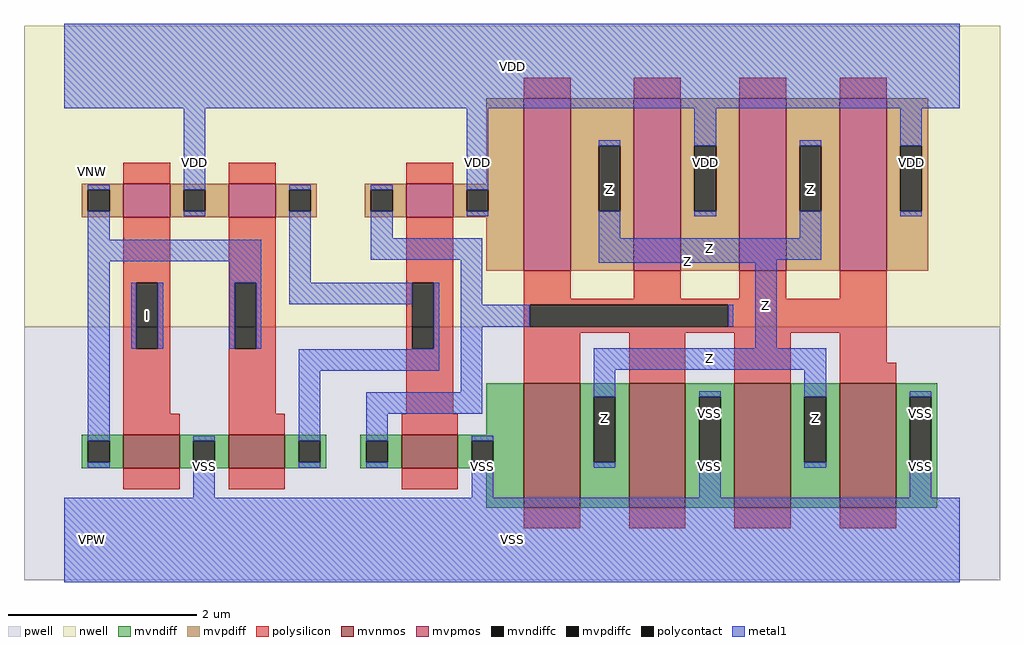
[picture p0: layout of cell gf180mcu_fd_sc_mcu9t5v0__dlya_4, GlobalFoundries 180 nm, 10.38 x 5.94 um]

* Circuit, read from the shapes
.subckt gf180mcu_fd_sc_mcu9t5v0__dlya_4 I Z VDD VNW VPW VSS
XM1 VSS I n1 VPW nfet_06v0 w=0.36u l=0.6u
XM2 n2 n1 VSS VPW nfet_06v0 w=0.36u l=0.6u
XM3 VSS n2 n3 VPW nfet_06v0 w=0.36u l=0.6u
XM4 Z n3 VSS VPW nfet_06v0 w=1.32u l=0.6u m=4
XM5 VDD I n1 VNW pfet_06v0 w=0.36u l=0.5u
XM6 n2 n1 VDD VNW pfet_06v0 w=0.36u l=0.5u
XM7 VDD n2 n3 VNW pfet_06v0 w=0.36u l=0.5u
XM8 Z n3 VDD VNW pfet_06v0 w=1.83u l=0.5u m=4
.ends

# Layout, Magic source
magic
tech gf180mcuD
magscale 1 10
<< nwell >>
rect -86 453 1990 1094
<< pwell >>
rect -86 -86 1990 453
<< mvnmos >>
rect 125 152 245 224
rect 349 152 469 224
rect 717 152 837 224
rect 977 69 1097 333
rect 1201 69 1321 333
rect 1425 69 1545 333
rect 1649 69 1769 333
<< mvpmos >>
rect 125 686 225 758
rect 349 686 449 758
rect 727 686 827 758
rect 977 573 1077 939
rect 1211 573 1311 939
rect 1435 573 1535 939
rect 1649 573 1749 939
<< mvndiff >>
rect 897 224 977 333
rect 37 211 125 224
rect 37 165 50 211
rect 96 165 125 211
rect 37 152 125 165
rect 245 211 349 224
rect 245 165 274 211
rect 320 165 349 211
rect 245 152 349 165
rect 469 211 557 224
rect 469 165 498 211
rect 544 165 557 211
rect 469 152 557 165
rect 629 211 717 224
rect 629 165 642 211
rect 688 165 717 211
rect 629 152 717 165
rect 837 211 977 224
rect 837 165 866 211
rect 912 165 977 211
rect 837 152 977 165
rect 897 69 977 152
rect 1097 305 1201 333
rect 1097 165 1126 305
rect 1172 165 1201 305
rect 1097 69 1201 165
rect 1321 305 1425 333
rect 1321 165 1350 305
rect 1396 165 1425 305
rect 1321 69 1425 165
rect 1545 305 1649 333
rect 1545 165 1574 305
rect 1620 165 1649 305
rect 1545 69 1649 165
rect 1769 305 1857 333
rect 1769 165 1798 305
rect 1844 165 1857 305
rect 1769 69 1857 165
<< mvpdiff >>
rect 897 758 977 939
rect 37 745 125 758
rect 37 699 50 745
rect 96 699 125 745
rect 37 686 125 699
rect 225 745 349 758
rect 225 699 254 745
rect 300 699 349 745
rect 225 686 349 699
rect 449 745 537 758
rect 449 699 478 745
rect 524 699 537 745
rect 449 686 537 699
rect 639 745 727 758
rect 639 699 652 745
rect 698 699 727 745
rect 639 686 727 699
rect 827 745 977 758
rect 827 699 856 745
rect 902 699 977 745
rect 827 686 977 699
rect 897 573 977 686
rect 1077 839 1211 939
rect 1077 699 1136 839
rect 1182 699 1211 839
rect 1077 573 1211 699
rect 1311 839 1435 939
rect 1311 699 1340 839
rect 1386 699 1435 839
rect 1311 573 1435 699
rect 1535 839 1649 939
rect 1535 699 1564 839
rect 1610 699 1649 839
rect 1535 573 1649 699
rect 1749 839 1837 939
rect 1749 699 1778 839
rect 1824 699 1837 839
rect 1749 573 1837 699
<< mvndiffc >>
rect 50 165 96 211
rect 274 165 320 211
rect 498 165 544 211
rect 642 165 688 211
rect 866 165 912 211
rect 1126 165 1172 305
rect 1350 165 1396 305
rect 1574 165 1620 305
rect 1798 165 1844 305
<< mvpdiffc >>
rect 50 699 96 745
rect 254 699 300 745
rect 478 699 524 745
rect 652 699 698 745
rect 856 699 902 745
rect 1136 699 1182 839
rect 1340 699 1386 839
rect 1564 699 1610 839
rect 1778 699 1824 839
<< polysilicon >>
rect 977 939 1077 983
rect 1211 939 1311 983
rect 1435 939 1535 983
rect 1649 939 1749 983
rect 125 758 225 802
rect 349 758 449 802
rect 727 758 827 802
rect 125 547 225 686
rect 125 407 153 547
rect 199 407 225 547
rect 125 268 225 407
rect 349 547 449 686
rect 349 407 362 547
rect 408 407 449 547
rect 349 268 449 407
rect 727 547 827 686
rect 727 407 740 547
rect 786 407 827 547
rect 727 268 827 407
rect 977 513 1077 573
rect 1211 513 1311 573
rect 1435 513 1535 573
rect 1649 513 1749 573
rect 977 500 1749 513
rect 977 454 990 500
rect 1412 454 1749 500
rect 977 441 1749 454
rect 977 333 1097 441
rect 1201 333 1321 441
rect 1425 333 1545 441
rect 1649 377 1749 441
rect 1649 333 1769 377
rect 125 224 245 268
rect 349 224 469 268
rect 717 224 837 268
rect 125 108 245 152
rect 349 108 469 152
rect 717 108 837 152
rect 977 25 1097 69
rect 1201 25 1321 69
rect 1425 25 1545 69
rect 1649 25 1769 69
<< polycontact >>
rect 153 407 199 547
rect 362 407 408 547
rect 740 407 786 547
rect 990 454 1412 500
<< metal1 >>
rect 0 918 1904 1098
rect 50 745 96 756
rect 50 639 96 699
rect 254 745 300 918
rect 254 688 300 699
rect 478 745 524 756
rect 50 593 419 639
rect 50 211 96 593
rect 351 547 419 593
rect 142 407 153 547
rect 199 407 210 547
rect 351 407 362 547
rect 408 407 419 547
rect 478 547 524 699
rect 652 745 698 756
rect 652 642 698 699
rect 856 745 902 918
rect 856 688 902 699
rect 1136 839 1182 850
rect 1136 642 1182 699
rect 1340 839 1386 918
rect 1340 688 1386 699
rect 1564 839 1610 850
rect 1564 642 1610 699
rect 1778 839 1824 918
rect 1778 688 1824 699
rect 652 596 889 642
rect 478 501 740 547
rect 786 407 797 547
rect 740 406 797 407
rect 498 360 797 406
rect 843 500 889 596
rect 1136 596 1610 642
rect 1136 590 1515 596
rect 843 454 990 500
rect 1412 454 1423 500
rect 50 154 96 165
rect 274 211 320 222
rect 274 90 320 165
rect 498 211 544 360
rect 843 314 889 454
rect 1469 408 1515 590
rect 498 154 544 165
rect 642 268 889 314
rect 1126 362 1620 408
rect 1126 305 1172 362
rect 642 211 688 268
rect 642 154 688 165
rect 866 211 912 222
rect 866 90 912 165
rect 1126 154 1172 165
rect 1350 305 1396 316
rect 1350 90 1396 165
rect 1574 305 1620 362
rect 1574 154 1620 165
rect 1798 305 1844 316
rect 1798 90 1844 165
rect 0 -90 1904 90
<< labels >>
flabel metal1 s 142 407 210 547 0 FreeSans 200 0 0 0 I
port 1 nsew default input
flabel metal1 s 0 918 1904 1098 0 FreeSans 200 0 0 0 VDD
port 3 nsew power bidirectional abutment
flabel metal1 s 1798 222 1844 316 0 FreeSans 200 0 0 0 VSS
port 6 nsew ground bidirectional abutment
flabel metal1 s 1564 642 1610 850 0 FreeSans 200 0 0 0 Z
port 2 nsew default output
flabel nwell s 10 734 110 834 0 FreeSans 400 0 0 0 VNW
port 4 nsew power bidirectional
flabel pwell s 10 -50 110 50 0 FreeSans 400 0 0 0 VPW
port 5 nsew ground bidirectional
rlabel metal1 s 1136 642 1182 850 1 Z
port 2 nsew default output
rlabel metal1 s 1136 596 1610 642 1 Z
port 2 nsew default output
rlabel metal1 s 1136 590 1515 596 1 Z
port 2 nsew default output
rlabel metal1 s 1469 408 1515 590 1 Z
port 2 nsew default output
rlabel metal1 s 1126 362 1620 408 1 Z
port 2 nsew default output
rlabel metal1 s 1574 154 1620 362 1 Z
port 2 nsew default output
rlabel metal1 s 1126 154 1172 362 1 Z
port 2 nsew default output
rlabel metal1 s 1778 688 1824 918 1 VDD
port 3 nsew power bidirectional abutment
rlabel metal1 s 1340 688 1386 918 1 VDD
port 3 nsew power bidirectional abutment
rlabel metal1 s 856 688 902 918 1 VDD
port 3 nsew power bidirectional abutment
rlabel metal1 s 254 688 300 918 1 VDD
port 3 nsew power bidirectional abutment
rlabel metal1 s 1350 222 1396 316 1 VSS
port 6 nsew ground bidirectional abutment
rlabel metal1 s 1798 90 1844 222 1 VSS
port 6 nsew ground bidirectional abutment
rlabel metal1 s 1350 90 1396 222 1 VSS
port 6 nsew ground bidirectional abutment
rlabel metal1 s 866 90 912 222 1 VSS
port 6 nsew ground bidirectional abutment
rlabel metal1 s 274 90 320 222 1 VSS
port 6 nsew ground bidirectional abutment
rlabel metal1 s 0 -90 1904 90 1 VSS
port 6 nsew ground bidirectional abutment
<< properties >>
string FIXED_BBOX 0 0 1904 1008
string GDS_END 707524
string GDS_FILE $PDKPATH/libs.ref/gf180mcu_fd_sc_mcu9t5v0/gds/gf180mcu_fd_sc_mcu9t5v0.gds
string GDS_START 702110
string LEFclass core
string LEFsite GF018hv5v_green_sc9
string LEFsymmetry X Y
<< end >>
